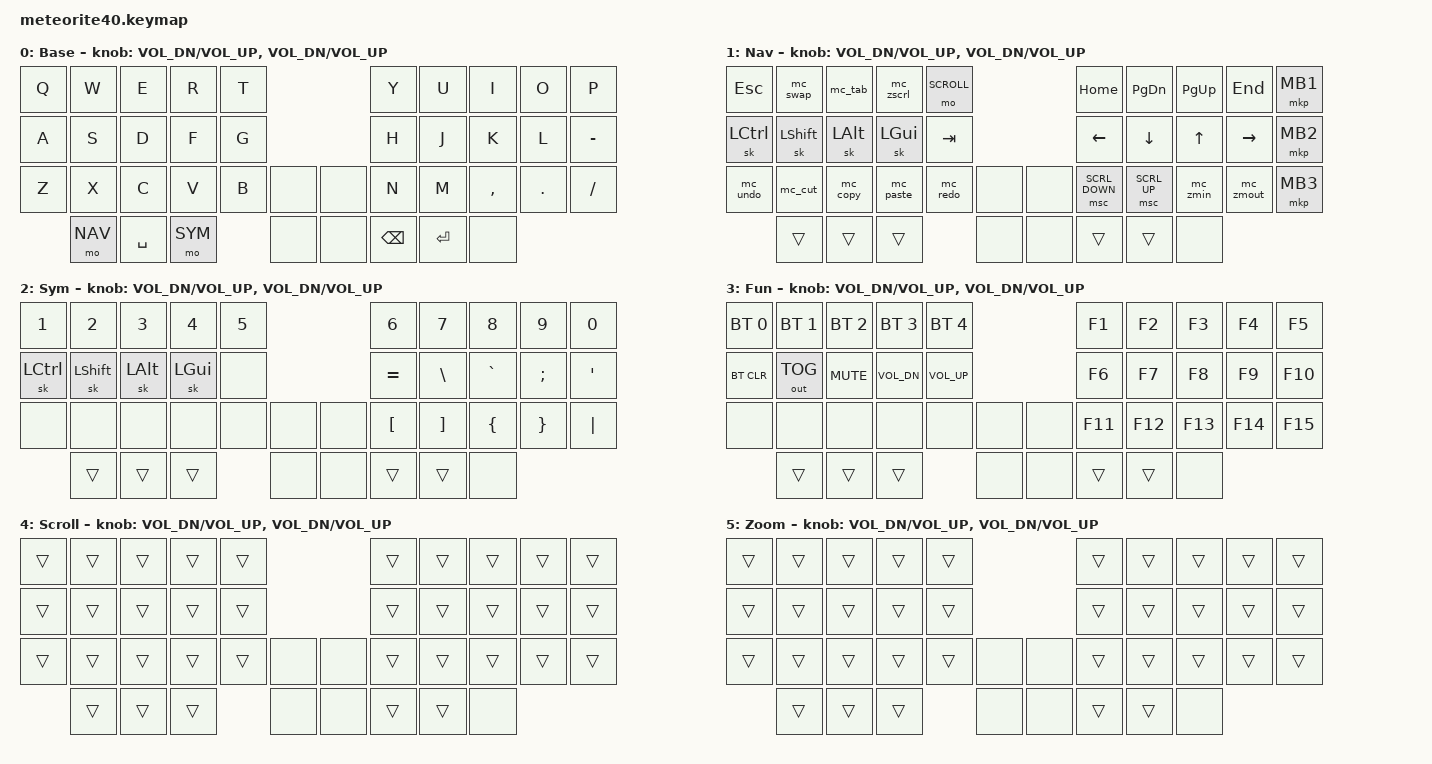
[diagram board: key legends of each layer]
/*
 * meteorite40 — 艦隊共通 OSM keymap（Atreus 正本準拠）
 *
 * hold-tap 完全排除、Callum式 One-Shot ベース。
 * Charybdis / Corne / Keyball39 / roBa / ALU40 と同一の操作体系に統一する。
 *
 * ■ 物理配置（40キー・LAYOUT_SPLIT_SPACE）
 *   Row 0:  0  1  2  3  4              |  5  6  7  8  9
 *   Row 1: 10 11 12 13 14              | 15 16 17 18 19
 *   Row 2: 20 21 22 23 24  [25] [26]   | 27 28 29 30 31
 *   Thumb:    32 33 34     [35] [36]   | 37 38 39
 *
 *   ★ 中央4キー（25 26 35 36）は **ブランク（&none）**（2026-11-12 緒方さん指示）。
 *   ★ 右親指の一番外側(39)は **ロータリーエンコーダ実装でキーが無い**（同日確認）。
 *     → 実効 **35キー ＝ 3×5 ＋ 左親指3 ＋ 右親指2** で、**Charybdis Nano と完全に同じ構成**。
 *     そのため右親指の TAB は置けないが、Charybdis と同様に **NAV層で TAB を入力**する。
 *
 * ■ 親指の物理配置（内外の向きに注意。艦隊共通の規約）
 *     左手 [32][33][34] │ 中央 │ [37][38][39] 右手
 *           外側→→→内側          内側←←←外側
 *   ＝ **内側(中央寄り)は 左=34(SYM) / 右=37(BSPC)**。
 *   右親指は 37(BSPC) / 38(ENT) の2キーのみ（39はエンコーダ）。
 *
 * ■ レイヤー
 *   0 BASE / 1 NAV / 2 SYM / 3 FUN(NAV+SYM) / 4 SCROLL / 5 ZOOM
 *   ※SETTING層は作らない。BT関連は FUN層に集約し、bootloader/sys_reset は
 *     コンボ(Q+B+親指)で叩けるため専用層が不要（2026-11-15 緒方さん判断）。
 *
 * ■ トラックボール
 *   本機は「Ball Profile ルーター」で**レイヤーごとにボールの役割**を決める。
 *   ★NAV には BALL_SCROLL を割り当てない。NAV は MB1 を押しながらボールで
 *     「範囲選択(ドラッグ)」をする層であり、NAV中ずっとスクロールにするとその操作が
 *     死ぬ（2026-11-12 Charybdis 実機で判明）。
 *   → スクロールは **NAV層 T位置(pos4) の &mo SCROLL を押している間だけ**。
 *   → ズーム(ピンチ相当=⌘+スクロール)は **NAV層 R位置(pos3) の &mc_zscrl**
 *     （⌘を保持しつつ ZOOM 層を有効化するマクロ）。
 *
 * ■ ロータリーエンコーダ（右1個実装）
 *   全レイヤーで **音量 Vol-/Vol+**（2026-11-12 緒方さん指示）。
 */

#include <behaviors.dtsi>
#include <dt-bindings/zmk/bt.h>
#include <dt-bindings/zmk/keys.h>
#include <dt-bindings/zmk/outputs.h>
#include "user_macros.dtsi"

#include <behaviors/meteorite_custom_key.dtsi>
#include <behaviors/custom_config.dtsi>
#include <behaviors/meteorite_bt_os.dtsi>
#include <behaviors/meteorite_mod_key.dtsi>
#include <behaviors/meteorite_os_key.dtsi>
#include <behaviors/meteorite_os_macro.dtsi>
#include <behaviors/studio_bt_disc.dtsi>
#include <dt-bindings/zmk/custom_config.h>
#include <dt-bindings/zmk/meteorite_custom_keys.h>
#include <dt-bindings/zmk/meteorite_bt_os.h>

#define ZMK_POINTING_DEFAULT_SCRL_VAL 200
#include <dt-bindings/zmk/pointing.h>

#define BASE    0
#define NAV     1
#define SYM     2
#define FUN     3
#define SCROLL  4
#define ZOOM    5

/* --- One-Shot Modifier（Callum式・艦隊共通） --- */
&sk {
    release-after-ms = <2000>;
};

/* --- スクロール速度（艦隊共通） --- */
&msc {
    time-to-max-speed-ms = <300>;
    acceleration-exponent = <1>;
};

/* --- ボールの役割をレイヤーごとに指定 ---
 * index: 0=BASE 1=NAV 2=SYM 3=FUN 4=SCROLL 5=ZOOM 6,7=未使用
 * ★NAV は BALL_OFF のまま（範囲選択を殺さないため）。SCROLL / ZOOM だけ BALL_SCROLL。
 */
&ball_profile_defaults {
    layer-profiles = <BALL_OFF BALL_OFF BALL_OFF BALL_OFF
                      BALL_SCROLL BALL_SCROLL BALL_OFF BALL_OFF>;
};

/ {
    macros {
        /* Swapper（⌘Tab: キーを離すまで⌘を保持） */
        mc_swap: mc_swap {
            compatible = "zmk,behavior-macro";
            #binding-cells = <0>;
            wait-ms = <30>;
            tap-ms = <30>;
            bindings = <&macro_press &kp LGUI>, <&macro_tap &kp TAB>, <&macro_pause_for_release>, <&macro_release &kp LGUI>;
        };
        /* Tabber（⌃Tab: キーを離すまで⌃を保持） */
        mc_tab: mc_tab {
            compatible = "zmk,behavior-macro";
            #binding-cells = <0>;
            wait-ms = <30>;
            tap-ms = <30>;
            bindings = <&macro_press &kp LCTRL>, <&macro_tap &kp TAB>, <&macro_pause_for_release>, <&macro_release &kp LCTRL>;
        };
        mc_undo: mc_undo {
            compatible = "zmk,behavior-macro";
            #binding-cells = <0>;
            wait-ms = <30>;
            tap-ms = <30>;
            bindings = <&macro_press &kp LGUI>, <&macro_tap &kp Z>, <&macro_release &kp LGUI>;
        };
        mc_cut: mc_cut {
            compatible = "zmk,behavior-macro";
            #binding-cells = <0>;
            wait-ms = <30>;
            tap-ms = <30>;
            bindings = <&macro_press &kp LGUI>, <&macro_tap &kp X>, <&macro_release &kp LGUI>;
        };
        mc_copy: mc_copy {
            compatible = "zmk,behavior-macro";
            #binding-cells = <0>;
            wait-ms = <30>;
            tap-ms = <30>;
            bindings = <&macro_press &kp LGUI>, <&macro_tap &kp C>, <&macro_release &kp LGUI>;
        };
        mc_paste: mc_paste {
            compatible = "zmk,behavior-macro";
            #binding-cells = <0>;
            wait-ms = <30>;
            tap-ms = <30>;
            bindings = <&macro_press &kp LGUI>, <&macro_tap &kp V>, <&macro_release &kp LGUI>;
        };
        mc_redo: mc_redo {
            compatible = "zmk,behavior-macro";
            #binding-cells = <0>;
            wait-ms = <30>;
            tap-ms = <30>;
            bindings = <&macro_press &kp LGUI>, <&macro_press &kp LSHFT>, <&macro_tap &kp Z>, <&macro_release &kp LSHFT>, <&macro_release &kp LGUI>;
        };
        /* 段階ズーム（⌘= / ⌘-）。ボールの無段階ズームとは別物 */
        mc_zmin: mc_zmin {
            compatible = "zmk,behavior-macro";
            #binding-cells = <0>;
            wait-ms = <30>;
            tap-ms = <30>;
            bindings = <&macro_press &kp LGUI>, <&macro_tap &kp EQUAL>, <&macro_release &kp LGUI>;
        };
        mc_zmout: mc_zmout {
            compatible = "zmk,behavior-macro";
            #binding-cells = <0>;
            wait-ms = <30>;
            tap-ms = <30>;
            bindings = <&macro_press &kp LGUI>, <&macro_tap &kp MINUS>, <&macro_release &kp LGUI>;
        };

        /* ★ピンチ相当ズーム：押している間 ⌘ を保持したまま ZOOM 層（＝ボールがスクロール）
         * を有効化する。結果として **⌘+スクロール** が出て、カーソルが埋め込み
         * Googleマップ等の上にあれば**地図の縮尺**が変わる（ページ全体ズームとは別）。
         * ※ピンチ(magnifyジェスチャ)自体はHIDに無く送れないため、これが代替。 */
        mc_zscrl: mc_zscrl {
            compatible = "zmk,behavior-macro";
            #binding-cells = <0>;
            wait-ms = <0>;
            tap-ms = <0>;
            bindings = <&macro_press &kp LGUI &mo ZOOM>,
                       <&macro_pause_for_release>,
                       <&macro_release &kp LGUI &mo ZOOM>;
        };
    };

    behaviors {
        /* エンコーダ：回転で任意キーを打つ */
        enc_kp: encoder_key_press {
            compatible = "zmk,behavior-sensor-rotate-var";
            #sensor-binding-cells = <2>;
            bindings = <&kp>, <&kp>;
            tap-ms = <25>;
            display-name = "Encoder Key Press";
        };
    };

    /* --- Conditional Layer (NAV + SYM = FUN) --- */
    conditional_layers {
        compatible = "zmk,conditional-layers";
        tri_layer {
            if-layers = <NAV SYM>;
            then-layer = <FUN>;
        };
    };

    /* --- Combos（艦隊共通） ---
     * ★D+F は使わない（「pdf」と打つと誤発火するため・2026-11-12 廃止）。
     * ★本機は一体型(単一MCU)なので bootloader / sys_reset は**左側のみ**で足りる。
     */
    combos {
        compatible = "zmk,combos";

        /* SPC(33) + BSPC(37) → LNG1（IME 英数） */
        combo_lng1 {
            timeout-ms = <50>;
            require-prior-idle-ms = <150>;
            key-positions = <33 37>;
            bindings = <&kp LANGUAGE_1>;
            layers = <BASE>;
        };

        /* BSPC(37) + ENT(38) → LNG2（IME かな） */
        combo_lng2 {
            timeout-ms = <50>;
            require-prior-idle-ms = <150>;
            key-positions = <37 38>;
            bindings = <&kp LANGUAGE_2>;
            layers = <BASE>;
        };

        /* J(16) + K(17) → Caps Word */
        combo_caps_word {
            timeout-ms = <80>;
            require-prior-idle-ms = <150>;
            key-positions = <16 17>;
            bindings = <&caps_word>;
            layers = <BASE>;
        };

        /* bootloader — Q(0) + B(24) + SYM(34=親指内側) */
        combo_boot {
            timeout-ms = <100>;
            require-prior-idle-ms = <250>;
            key-positions = <0 24 34>;
            bindings = <&bootloader>;
        };

        /* sys_reset — Q(0) + B(24) + SPC(33=内側から2番目) */
        combo_reset {
            timeout-ms = <100>;
            require-prior-idle-ms = <250>;
            key-positions = <0 24 33>;
            bindings = <&sys_reset>;
        };
    };

    keymap {
        compatible = "zmk,keymap";
        layout = &LAYOUT_SPLIT_SPACE;   /* 親指に 2U/2.25U を使わない＝F10 全1u運用と整合 */

        /* BASE — Atreus [_BASE]（Charybdis Nano と同一の 3+2 親指）
         *   Q W E R T │ Y U I O P
         *   A S D F G │ H J K L -
         *   Z X C V B │ N M , . /
         *     NAV SPC SYM │ BSPC ENT [ENC]
         */
        BASE_layer {
            display-name = "Base";
            bindings = <
&kp Q    &kp W    &kp E    &kp R    &kp T                     &kp Y     &kp U    &kp I      &kp O    &kp P
&kp A    &kp S    &kp D    &kp F    &kp G                     &kp H     &kp J    &kp K      &kp L    &kp MINUS
&kp Z    &kp X    &kp C    &kp V    &kp B    &none    &none   &kp N     &kp M    &kp COMMA  &kp DOT  &kp FSLH
         &mo NAV  &kp SPC  &mo SYM           &none    &none   &kp BSPC  &kp RET  &none
            >;

            sensor-bindings =
                <&enc_kp C_VOL_DN C_VOL_UP>,
                <&enc_kp C_VOL_DN C_VOL_UP>;
        };

        /* NAV（左親指 外側=32）— Charybdis と同配置
         *   ESC  SWAP TABs ZOOM SCRL │ HOME PGDN PGUP END  LCLK
         *   skCTL skSFT skALT skGUI TAB │ ←  ↓  ↑  →  RCLK
         *   UNDO CUT COPY PASTE REDO │ SCR↓ SCR↑ ZM+ ZM- MCLK
         *
         * ★SCRL(pos4=T位置) を押している間だけボール＝スクロール。
         * ★ZOOM(pos3=R位置) を押している間だけ ⌘+スクロール＝地図の縮尺ズーム。
         * ★この層のボールは**カーソルのまま**なので MB1+ボールの範囲選択が使える。
         */
        NAV_layer {
            display-name = "Nav";
            bindings = <
&kp ESC    &mc_swap   &mc_tab   &mc_zscrl  &mo SCROLL                    &kp HOME        &kp PG_DN     &kp PG_UP  &kp END    &mkp MB1
&sk LCTRL  &sk LSHFT  &sk LALT  &sk LGUI   &kp TAB                       &kp LEFT        &kp DOWN      &kp UP     &kp RIGHT  &mkp MB2
&mc_undo   &mc_cut    &mc_copy  &mc_paste  &mc_redo    &none    &none    &msc SCRL_DOWN  &msc SCRL_UP  &mc_zmin   &mc_zmout  &mkp MB3
           &trans     &trans    &trans                 &none    &none    &trans          &trans        &none
            >;

            sensor-bindings =
                <&enc_kp C_VOL_DN C_VOL_UP>,
                <&enc_kp C_VOL_DN C_VOL_UP>;
        };

        /* SYM（左親指 内側=34）— Atreus [_SYM] と同一
         *   1 2 3 4 5 │ 6 7 8 9 0
         *   skCTL skSFT skALT skGUI - │ = \ ` ; '
         *   - - - - - │ [ ] { } |
         */
        SYM_layer {
            display-name = "Sym";
            bindings = <
&kp N1     &kp N2     &kp N3    &kp N4    &kp N5                   &kp N6     &kp N7    &kp N8     &kp N9     &kp N0
&sk LCTRL  &sk LSHFT  &sk LALT  &sk LGUI  &none                    &kp EQUAL  &kp BSLH  &kp GRAVE  &kp SEMI   &kp SQT
&none      &none      &none     &none     &none   &none    &none   &kp LBKT   &kp RBKT  &kp LBRC   &kp RBRC   &kp PIPE
           &trans     &trans    &trans            &none    &none   &trans     &trans    &none
            >;

            sensor-bindings =
                <&enc_kp C_VOL_DN C_VOL_UP>,
                <&enc_kp C_VOL_DN C_VOL_UP>;
        };

        /* FUN（NAV + SYM 同時）— **艦隊共通配置**（正本=Atreus に準拠）
         *   左 = 機器設定＋ボリューム / 右 = F1..F15
         *
         *   BT0  BT1    BT2  VOL-  BT4   │ F1  F2  F3  F4  F5
         *   CLR  USB⇄BT MUTE VOL-  VOL+  │ F6  F7  F8  F9  F10
         *   ・   ・     ・   ・    ・    │ F11 F12 F13 F14 F15
         *
         *   BT接続先（2026-11-15 統一・**左から数えた番号**。BT_SEL は0始まり）
         *     1番目=BT_SEL 0 → iPad mini / 2番目=BT_SEL 1 → iPad Pro
         *     3番目=BT_SEL 2 → iPhone    / 4番目=BT_SEL 3 → Daylight DC-1
         *     5番目=BT_SEL 4 → Mac mini
         *   ★ペアリング実体は各機が個別保持。番号を揃えるには 各プロファイルを選んで CLR で1つずつ消去 →
         *     1番目を選んで iPad mini とペアリング → 2番目… と手作業で順に入れ直す。
         *   ★CLR は BT 列の真下（関連操作が縦に並ぶ＋小指側で誤爆しにくい）。
         *   ★左手下段は**将来の拡張枠**。RGB系は基本使わないため**全機で廃止**
         *     （2026-11-15 緒方さん判断。ALU40 からも削除）。
         *   ★BOOT / CLR_ALL / studio_bt は置かない：BOOT はコンボ(Q+B+親指内側)で
         *     叩ける、他2つは使用頻度が極端に低い。
         */
        FUN_layer {
            display-name = "Fun";
            bindings = <
&bt BT_SEL 0  &bt BT_SEL 1   &bt BT_SEL 2  &bt BT_SEL 3  &bt BT_SEL 4                  &kp F1   &kp F2   &kp F3   &kp F4   &kp F5
&bt BT_CLR    &out OUT_TOG   &kp K_MUTE    &kp K_VOL_DN  &kp K_VOL_UP                  &kp F6   &kp F7   &kp F8   &kp F9   &kp F10
&none          &none         &none         &none         &none         &none   &none   &kp F11  &kp F12  &kp F13  &kp F14  &kp F15
              &trans         &trans        &trans                      &none   &none   &trans   &trans   &none
            >;

            sensor-bindings =
                <&enc_kp C_VOL_DN C_VOL_UP>,
                <&enc_kp C_VOL_DN C_VOL_UP>;
        };

        /* SCROLL — ボール＝スクロール（NAV層の SCRL を押している間だけ有効）。
         * キーは素通し（&trans）にして、打鍵は NAV / BASE のまま使えるようにする。 */
        SCROLL_layer {
            display-name = "Scroll";
            bindings = <
&trans  &trans  &trans  &trans  &trans                  &trans  &trans  &trans  &trans  &trans
&trans  &trans  &trans  &trans  &trans                  &trans  &trans  &trans  &trans  &trans
&trans  &trans  &trans  &trans  &trans  &none   &none   &trans  &trans  &trans  &trans  &trans
        &trans  &trans  &trans          &none   &none   &trans  &trans  &none
            >;

            sensor-bindings =
                <&enc_kp C_VOL_DN C_VOL_UP>,
                <&enc_kp C_VOL_DN C_VOL_UP>;
        };

        /* ZOOM — ボール＝スクロール＋⌘保持（mc_zscrl が有効化）＝ピンチ相当 */
        ZOOM_layer {
            display-name = "Zoom";
            bindings = <
&trans  &trans  &trans  &trans  &trans                  &trans  &trans  &trans  &trans  &trans
&trans  &trans  &trans  &trans  &trans                  &trans  &trans  &trans  &trans  &trans
&trans  &trans  &trans  &trans  &trans  &none   &none   &trans  &trans  &trans  &trans  &trans
        &trans  &trans  &trans          &none   &none   &trans  &trans  &none
            >;

            sensor-bindings =
                <&enc_kp C_VOL_DN C_VOL_UP>,
                <&enc_kp C_VOL_DN C_VOL_UP>;
        };


        layer_7 {
            status = "reserved";
            display-name = "RESERVE";
            bindings = <
&none  &none  &none  &none  &none                  &none  &none  &none  &none  &none
&none  &none  &none  &none  &none                  &none  &none  &none  &none  &none
&none  &none  &none  &none  &none  &none   &none   &none  &none  &none  &none  &none
       &none  &none  &none         &none   &none   &none  &none  &none
            >;

            sensor-bindings =
                <&enc_kp C_VOL_DN C_VOL_UP>,
                <&enc_kp C_VOL_DN C_VOL_UP>;
        };
    };
};
